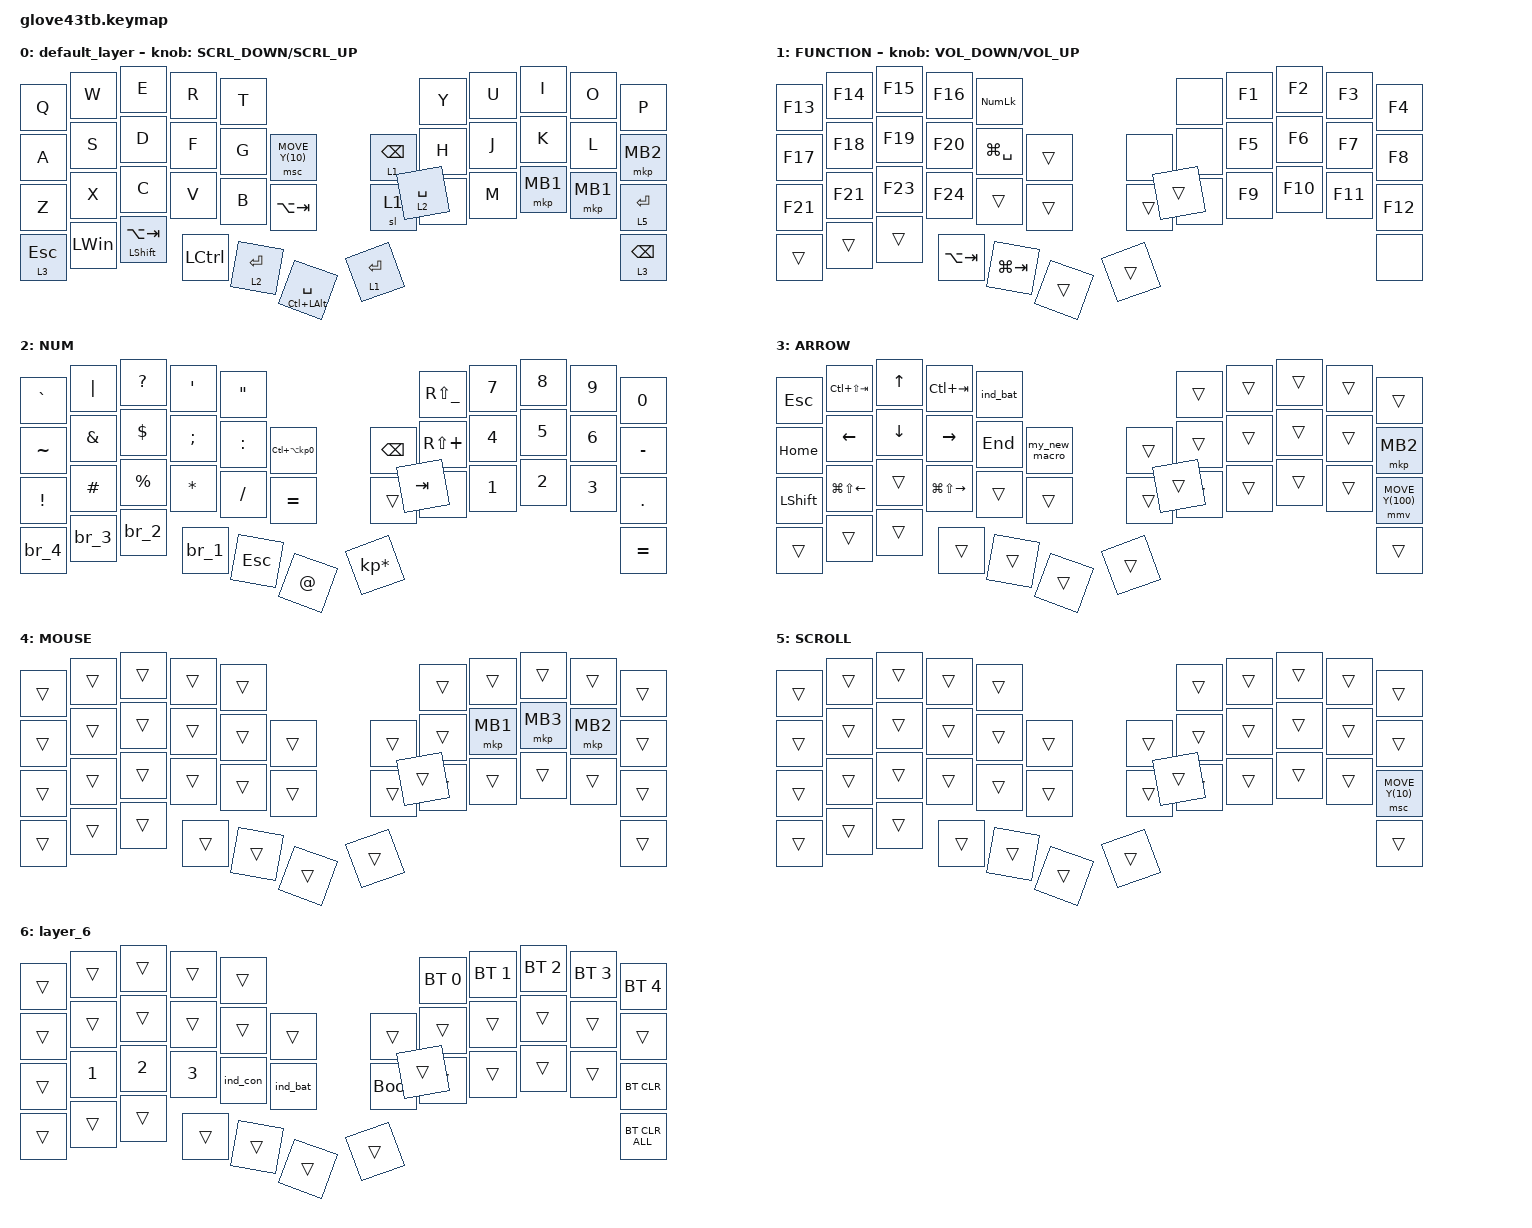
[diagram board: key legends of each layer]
#define ZMK_POINTING_DEFAULT_SCRL_VAL 150

#include <behaviors/rgbled_widget.dtsi>
#include <dt-bindings/zmk/input_transform.h>
#include <input/processors.dtsi>
#include <zephyr/dt-bindings/input/input-event-codes.h>
#include <behaviors.dtsi>
#include <dt-bindings/zmk/bt.h>
#include <dt-bindings/zmk/keys.h>
#include <dt-bindings/zmk/pointing.h>

&mt {
    flavor = "balanced";
    quick-tap-ms = <0>;
};

&mmv {
    delay-ms = <20>;
    trigger-period-ms = <5>;
    time-to-max-speed-ms = <100>;
    acceleration-exponent = <2>;
};

&msc {
    delay-ms = <3>;
    trigger-period-ms = <3>;
    time-to-max-speed-ms = <100>;
    acceleration-exponent = <0>;
};

/ {
    input_processors {
        zip_wheel_scaler: zip_wheel_scaler {
            compatible = "zmk,input-processor-scaler";
            #input-processor-cells = <2>;
            type = <INPUT_EV_REL>;
            codes = <INPUT_REL_WHEEL>;
            track-remainders;
        };
    };
};

/ {
    combos {
        compatible = "zmk,combos";

        tab {
            bindings = <&kp TAB>;
            key-positions = <1 2>;
        };

        esc {
            bindings = <&kp ESC>;
            key-positions = <11 12>;
        };

        atab {
            bindings = <&kp LA(TAB)>;
            key-positions = <23 24>;
        };

        bs {
            bindings = <&kp BACKSPACE>;
            key-positions = <7 8>;
        };

        returns {
            bindings = <&kp RET>;
            key-positions = <19 20>;
        };

        sl1_1 {
            bindings = <&sl 1>;
            key-positions = <10 13>;
        };

        sl1_2 {
            bindings = <&sl 1>;
            key-positions = <18 21>;
        };
    };

    macros {
        to_layer_0: to_layer_0 {
            compatible = "zmk,behavior-macro-one-param";
            #binding-cells = <1>;
            bindings = <&to 0 &macro_param_1to1 &kp MACRO_PLACEHOLDER>;
            label = "TO_LAYER_0";
        };

        br_1: br_1 {
            compatible = "zmk,behavior-macro";
            #binding-cells = <0>;
            bindings = <&kp LEFT_PARENTHESIS &kp RIGHT_PARENTHESIS &kp LEFT_ARROW>;
            label = "BR_1";
        };

        br_2: br_2 {
            compatible = "zmk,behavior-macro";
            #binding-cells = <0>;
            bindings = <&kp LEFT_BRACKET &kp RIGHT_BRACKET &kp LEFT_ARROW>;
            label = "BR_2";
        };

        br_3: br_3 {
            compatible = "zmk,behavior-macro";
            #binding-cells = <0>;
            bindings = <&kp LEFT_BRACE &kp RIGHT_BRACE &kp LEFT_ARROW>;
            label = "BR_3";
        };

        br_4: br_4 {
            compatible = "zmk,behavior-macro";
            #binding-cells = <0>;
            bindings = <&kp LESS_THAN &kp GREATER_THAN &kp LEFT>;
            label = "BR_4";
        };

        my_new_macro: my_new_macro {
            compatible = "zmk,behavior-macro";
            #binding-cells = <0>;
            bindings = <&sl 2>;
            label = "MY_NEW_MACRO";
        };
    };

    behaviors {
        lt_to_layer_0: lt_to_layer_0 {
            compatible = "zmk,behavior-hold-tap";
            label = "LAYER_TAP_TO_0";
            bindings = <&mo>, <&to_layer_0>;

            #binding-cells = <2>;
            tapping-term-ms = <200>;
        };

        sensor_rotate_kp: sensor_rotate_kp {
            compatible = "zmk,behavior-sensor-rotate-var";
            #sensor-binding-cells = <2>;
            bindings = <&kp>, <&kp>;
        };

        mouse_wheel_scroll: mouse_wheel_scroll {
            compatible = "zmk,behavior-sensor-rotate-var";
            #sensor-binding-cells = <2>;
            bindings = <&msc>, <&msc>;

            tap-ms = <20>;
        };

        myTd00: myTd00 {
            compatible = "zmk,behavior-tap-dance";
            label = "MYTD00";
            #binding-cells = <0>;
            bindings = <&lt 1 LSHFT>, <&sl 1>;
        };

        myMouseKey: myMouseKey {
            compatible = "zmk,behavior-mouse-key-press";
            label = "MYMOUSEKEY";
            #binding-cells = <1>;
        };

        td_mt: tap_dance_mod_tap {
            compatible = "zmk,behavior-tap-dance";
            #binding-cells = <0>;
            tapping-term-ms = <200>;
            bindings = <&lt 1 LSHIFT>, <&kp LC(SPC)>;
        };
    };

    keymap {
        compatible = "zmk,keymap";

        default_layer {
            bindings = <
&kp Q                    &kp W         &kp E              &kp R      &kp T                                                   &kp Y        &kp U  &kp I     &kp O     &kp P
&kp A                    &kp S         &kp D              &kp F      &kp G      &msc MOVE_Y(10)             &lt 1 BACKSPACE  &kp H        &kp J  &kp K     &kp L     &mkp MB2
&kp Z                    &kp X         &kp C              &kp V      &kp B      &kp LA(TAB)                 &sl 1            &kp N        &kp M  &mkp MB1  &mkp MB1  &lt 5 RET
&lt_to_layer_0 3 ESCAPE  &kp LEFT_WIN  &mt LSHFT LA(TAB)  &kp LCTRL  &lt 2 RET  &mt LC(LEFT_ALT) SPACE      &lt 1 RET        &lt 2 SPACE                             &lt 3 BACKSPACE
            >;

            sensor-bindings = <&mouse_wheel_scroll SCRL_DOWN SCRL_UP>;
        };

        FUNCTION {
            bindings = <
&kp F13  &kp F14  &kp F15  &kp F16      &kp KP_NLCK                        &none   &kp F1  &kp F2   &kp F3   &kp F4
&kp F17  &kp F18  &kp F19  &kp F20      &kp LG(SPACE)  &trans      &none   &none   &kp F5  &kp F6   &kp F7   &kp F8
&kp F21  &kp F21  &kp F23  &kp F24      &trans         &trans      &trans  &none   &kp F9  &kp F10  &kp F11  &kp F12
&trans   &trans   &trans   &kp LA(TAB)  &kp LG(TAB)    &trans      &trans  &trans                            &none
            >;

            sensor-bindings = <&sensor_rotate_kp C_VOLUME_DOWN C_VOLUME_UP>;
        };

        NUM {
            bindings = <
&kp GRAVE        &kp PIPE       &kp QUESTION  &kp SQT        &kp DOUBLE_QUOTES                                                &kp RS(UNDERSCORE)  &kp N7        &kp N8        &kp NUMBER_9  &kp N0
&kp TILDE        &kp AMPERSAND  &kp DOLLAR    &kp SEMICOLON  &kp COLON          &kp LC(LA(KP_NUMBER_0))      &kp BACKSPACE    &kp RS(PLUS)        &kp NUMBER_4  &kp N5        &kp NUMBER_6  &kp MINUS
&kp EXCLAMATION  &kp HASH       &kp PERCENT   &kp ASTERISK   &kp SLASH          &kp EQUAL                    &trans           &kp COMMA           &kp NUMBER_1  &kp NUMBER_2  &kp NUMBER_3  &kp PERIOD
&br_4            &br_3          &br_2         &br_1          &kp ESC            &kp AT_SIGN                  &kp KP_ASTERISK  &kp TAB                                                       &kp EQUAL
            >;
        };

        ARROW {
            bindings = <
&kp ESCAPE      &kp LC(LS(TAB))         &kp UP_ARROW    &kp LC(TAB)              &ind_bat                             &trans  &trans  &trans  &trans  &trans
&kp HOME        &kp LEFT_ARROW          &kp DOWN_ARROW  &kp RIGHT_ARROW          &kp END   &my_new_macro      &trans  &trans  &trans  &trans  &trans  &mkp MB2
&kp LEFT_SHIFT  &kp LG(LS(LEFT_ARROW))  &trans          &kp LG(LS(RIGHT_ARROW))  &trans    &trans             &trans  &trans  &trans  &trans  &trans  &mmv MOVE_Y(100)
&trans          &trans                  &trans          &trans                   &trans    &trans             &trans  &trans                          &trans
            >;
        };

        MOUSE {
            bindings = <
&trans  &trans  &trans  &trans  &trans                      &trans  &trans    &trans    &trans    &trans
&trans  &trans  &trans  &trans  &trans  &trans      &trans  &trans  &mkp MB1  &mkp MB3  &mkp MB2  &trans
&trans  &trans  &trans  &trans  &trans  &trans      &trans  &trans  &trans    &trans    &trans    &trans
&trans  &trans  &trans  &trans  &trans  &trans      &trans  &trans                                &trans
            >;
        };

        SCROLL {
            bindings = <
&trans  &trans  &trans  &trans  &trans                      &trans  &trans  &trans  &trans  &trans
&trans  &trans  &trans  &trans  &trans  &trans      &trans  &trans  &trans  &trans  &trans  &trans
&trans  &trans  &trans  &trans  &trans  &trans      &trans  &trans  &trans  &trans  &trans  &msc MOVE_Y(10)
&trans  &trans  &trans  &trans  &trans  &trans      &trans  &trans                          &trans
            >;
        };

        layer_6 {
            bindings = <
&trans  &trans        &trans        &trans        &trans                               &bt BT_SEL 0  &bt BT_SEL 1  &bt BT_SEL 2  &bt BT_SEL 3  &bt BT_SEL 4
&trans  &trans        &trans        &trans        &trans    &trans        &trans       &trans        &trans        &trans        &trans        &trans
&trans  &kp NUMBER_1  &kp NUMBER_2  &kp NUMBER_3  &ind_con  &ind_bat      &bootloader  &trans        &trans        &trans        &trans        &bt BT_CLR
&trans  &trans        &trans        &trans        &trans    &trans        &trans       &trans                                                  &bt BT_CLR_ALL
            >;
        };
    };
};
